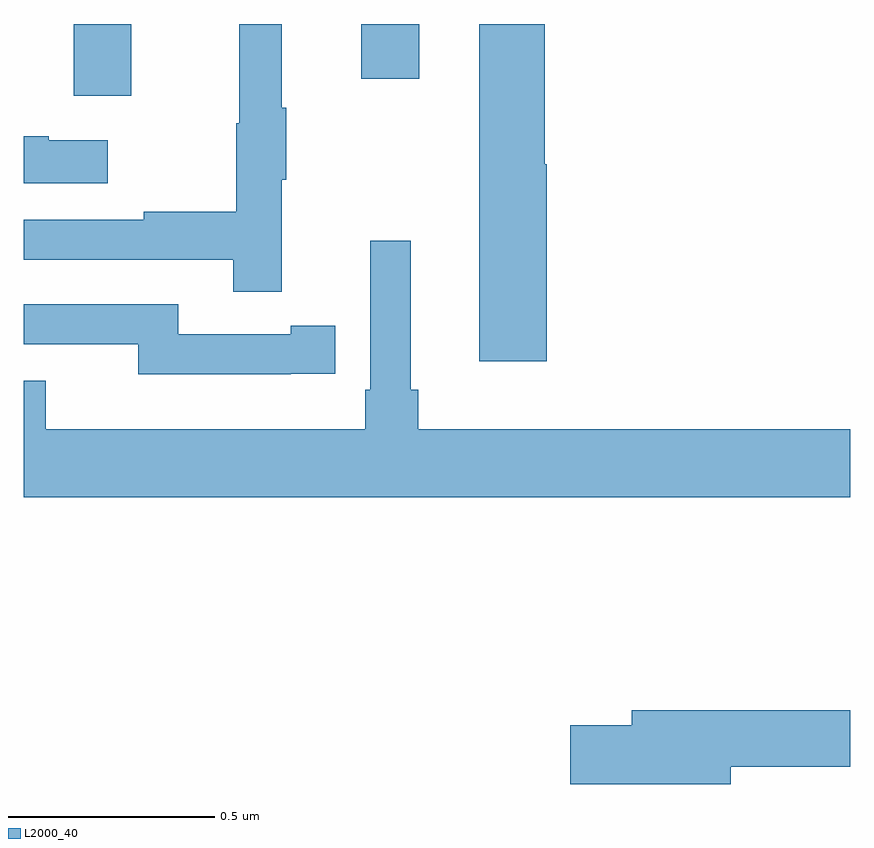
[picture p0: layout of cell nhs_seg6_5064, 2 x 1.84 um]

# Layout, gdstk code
import gdstk
lib = gdstk.Library(unit=1e-6, precision=1e-09)
def R(c, l, rs):  # rectangles x0, y0, x1, y1
    for r in rs: c.add(gdstk.rectangle(r[:2], r[2:], *l))
def P(c, l, *ps):  # polygons
    for p in ps: c.add(gdstk.Polygon(p, *l))
L2000_40 = (2000, 40)

nhs_seg6_5064 = lib.new_cell('nhs_seg6_5064')
R(nhs_seg6_5064, L2000_40, [(178.121,928.326,178.261,928.5), (178.817,928.368,178.957,928.5)])
P(nhs_seg6_5064, L2000_40, [(178.625,928.123),(178.636,928.123),(178.636,928.297),(178.625,928.297),(178.625,928.5),(178.522,928.5),(178.522,928.26),(178.515,928.26),(178.515,928.046),(178.291,928.046),(178.291,928.026),(178,928.026),(178,927.93),(178.507,927.93),(178.507,927.852),(178.625,927.852)],
  [(179.266,928.161),(179.261,928.161),(179.261,928.5),(179.102,928.5),(179.102,927.684),(179.266,927.684)],
  [(178.204,928.219),(178.061,928.219),(178.061,928.229),(178,928.229),(178,928.115),(178.204,928.115)],
  [(180,927.52),(178.955,927.52),(178.955,927.616),(178.936,927.616),(178.936,927.976),(178.839,927.976),(178.839,927.616),(178.826,927.616),(178.826,927.52),(178.054,927.52),(178.054,927.637),(178,927.637),(178,927.356),(180,927.356)],
  [(178.646,927.654),(178.754,927.654),(178.754,927.77),(178.646,927.77),(178.646,927.75),(178.374,927.75),(178.374,927.822),(178,927.822),(178,927.726),(178.278,927.726),(178.278,927.653),(178.646,927.653)],
  [(179.71,926.704),(180,926.704),(180,926.84),(179.471,926.84),(179.471,926.804),(179.322,926.804),(179.322,926.662),(179.71,926.662)])

lib.write_gds('nhs_seg6_5064.gds')
